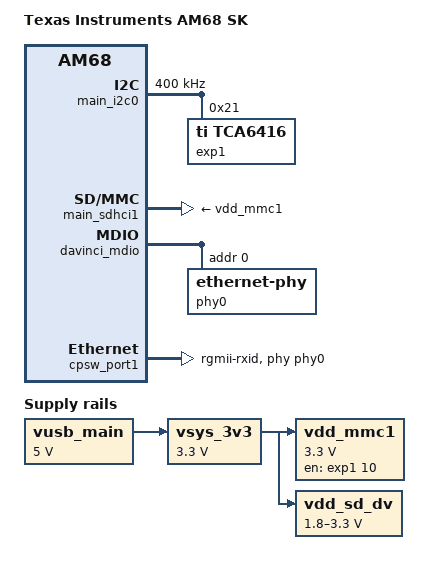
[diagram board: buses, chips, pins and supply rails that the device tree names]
// SPDX-License-Identifier: GPL-2.0
/*
 * Copyright (C) 2022 Texas Instruments Incorporated - https://www.ti.com/
 *
 * Base Board: **Yet to Add**
 */

/dts-v1/;

#include "k3-am68-sk-som.dtsi"
#include <dt-bindings/net/ti-dp83867.h>
#include <dt-bindings/phy/phy-cadence.h>
#include <dt-bindings/phy/phy.h>

/ {
	compatible = "ti,am68-sk", "ti,j721s2";
	model = "Texas Instruments AM68 SK";

	chosen {
		stdout-path = "serial2:115200n8";
		bootargs = "console=ttyS2,115200n8 earlycon=ns16550a,mmio32,0x2880000";
	};

	aliases {
		serial2 = &main_uart8;
		mmc1 = &main_sdhci1;
	};

	vusb_main: fixedregulator-vusb-main5v0 {
		/* USB MAIN INPUT 5V DC */
		compatible = "regulator-fixed";
		regulator-name = "vusb-main5v0";
		regulator-min-microvolt = <5000000>;
		regulator-max-microvolt = <5000000>;
		regulator-always-on;
		regulator-boot-on;
	};

	vsys_3v3: fixedregulator-vsys3v3 {
		/* Output of LM5141 */
		compatible = "regulator-fixed";
		regulator-name = "vsys_3v3";
		regulator-min-microvolt = <3300000>;
		regulator-max-microvolt = <3300000>;
		vin-supply = <&vusb_main>;
		regulator-always-on;
		regulator-boot-on;
	};

	vdd_mmc1: fixedregulator-sd {
		/* Output of TPS22918 */
		compatible = "regulator-fixed";
		regulator-name = "vdd_mmc1";
		regulator-min-microvolt = <3300000>;
		regulator-max-microvolt = <3300000>;
		regulator-boot-on;
		enable-active-high;
		vin-supply = <&vsys_3v3>;
		gpio = <&exp1 10 GPIO_ACTIVE_HIGH>;
	};

	vdd_sd_dv: gpio-regulator-TLV71033 {
		/* Output of TLV71033 */
		compatible = "regulator-gpio";
		regulator-name = "tlv71033";
		pinctrl-names = "default";
		pinctrl-0 = <&vdd_sd_dv_pins_default>;
		regulator-min-microvolt = <1800000>;
		regulator-max-microvolt = <3300000>;
		regulator-boot-on;
		vin-supply = <&vsys_3v3>;
		gpios = <&main_gpio0 49 GPIO_ACTIVE_HIGH>;
		states = <1800000 0x0>,
			 <3300000 0x1>;
	};
};

&main_pmx0 {
	main_uart8_pins_default: main-uart8-pins-default {
		pinctrl-single,pins = <
			J721S2_IOPAD(0x040, PIN_INPUT, 14) /* (AC28) MCASP0_AXR0.UART8_CTSn */
			J721S2_IOPAD(0x044, PIN_OUTPUT, 14) /* (Y26) MCASP0_AXR1.UART8_RTSn */
			J721S2_IOPAD(0x0d0, PIN_INPUT, 11) /* (AF26) SPI0_CS1.UART8_RXD */
			J721S2_IOPAD(0x0d4, PIN_OUTPUT, 11) /* (AH27) SPI0_CLK.UART8_TXD */
		>;
	};

	main_i2c0_pins_default: i2c0-pins-default {
		pinctrl-single,pins = <
			J721S2_IOPAD(0x0e0, PIN_INPUT_PULLUP, 0) /* (AH25) I2C0_SCL */
			J721S2_IOPAD(0x0e4, PIN_INPUT_PULLUP, 0) /* (AE24) I2C0_SDA */
		>;
	};

	main_mmc1_pins_default: main-mmc1-pins-default {
		pinctrl-single,pins = <
			J721S2_IOPAD(0x104, PIN_INPUT, 0) /* (P23) MMC1_CLK */
			J721S2_IOPAD(0x108, PIN_INPUT, 0) /* (N24) MMC1_CMD */
			J721S2_IOPAD(0x100, PIN_INPUT, 0) /* (###) MMC1_CLKLB */
			J721S2_IOPAD(0x0fc, PIN_INPUT, 0) /* (M23) MMC1_DAT0 */
			J721S2_IOPAD(0x0f8, PIN_INPUT, 0) /* (P24) MMC1_DAT1 */
			J721S2_IOPAD(0x0f4, PIN_INPUT, 0) /* (R24) MMC1_DAT2 */
			J721S2_IOPAD(0x0f0, PIN_INPUT, 0) /* (R22) MMC1_DAT3 */
			J721S2_IOPAD(0x0e8, PIN_INPUT, 8) /* (AE25) TIMER_IO0.MMC1_SDCD */
		>;
	};

	vdd_sd_dv_pins_default: vdd-sd-dv-pins-default {
		pinctrl-single,pins = <
			J721S2_IOPAD(0x0c4, PIN_INPUT, 7) /* (AB26) ECAP0_IN_APWM_OUT.GPIO0_49 */
		>;
	};
};

&wkup_pmx0 {
	mcu_cpsw_pins_default: mcu-cpsw-pins-default {
		pinctrl-single,pins = <
			J721S2_WKUP_IOPAD(0x094, PIN_INPUT, 0) /* (B22) MCU_RGMII1_RD0 */
			J721S2_WKUP_IOPAD(0x090, PIN_INPUT, 0) /* (B21) MCU_RGMII1_RD1 */
			J721S2_WKUP_IOPAD(0x08c, PIN_INPUT, 0) /* (C22) MCU_RGMII1_RD2 */
			J721S2_WKUP_IOPAD(0x088, PIN_INPUT, 0) /* (D23) MCU_RGMII1_RD3 */
			J721S2_WKUP_IOPAD(0x084, PIN_INPUT, 0) /* (D22) MCU_RGMII1_RXC */
			J721S2_WKUP_IOPAD(0x06c, PIN_INPUT, 0) /* (E23) MCU_RGMII1_RX_CTL */
			J721S2_WKUP_IOPAD(0x07c, PIN_OUTPUT, 0) /* (F23) MCU_RGMII1_TD0 */
			J721S2_WKUP_IOPAD(0x078, PIN_OUTPUT, 0) /* (G22) MCU_RGMII1_TD1 */
			J721S2_WKUP_IOPAD(0x074, PIN_OUTPUT, 0) /* (E21) MCU_RGMII1_TD2 */
			J721S2_WKUP_IOPAD(0x070, PIN_OUTPUT, 0) /* (E22) MCU_RGMII1_TD3 */
			J721S2_WKUP_IOPAD(0x080, PIN_OUTPUT, 0) /* (F21) MCU_RGMII1_TXC */
			J721S2_WKUP_IOPAD(0x068, PIN_OUTPUT, 0) /* (F22) MCU_RGMII1_TX_CTL */
		>;
	};

	mcu_mdio_pins_default: mcu-mdio-pins-default {
		pinctrl-single,pins = <
			J721S2_WKUP_IOPAD(0x09c, PIN_OUTPUT, 0) /* (A21) MCU_MDIO0_MDC */
			J721S2_WKUP_IOPAD(0x098, PIN_INPUT, 0) /* (A22) MCU_MDIO0_MDIO */
		>;
	};
};

&main_gpio2 {
	status = "disabled";
};

&main_gpio4 {
	status = "disabled";
};

&main_gpio6 {
	status = "disabled";
};

&wkup_gpio1 {
	status = "disabled";
};

&wkup_uart0 {
	status = "reserved";
};

&main_uart0 {
	status = "disabled";
};

&main_uart1 {
	status = "disabled";
};

&main_uart2 {
	status = "disabled";
};

&main_uart3 {
	status = "disabled";
};

&main_uart4 {
	status = "disabled";
};

&main_uart5 {
	status = "disabled";
};

&main_uart6 {
	status = "disabled";
};

&main_uart7 {
	status = "disabled";
};

&main_uart8 {
	pinctrl-names = "default";
	pinctrl-0 = <&main_uart8_pins_default>;
	/* Shared with TFA on this platform */
	power-domains = <&k3_pds 357 TI_SCI_PD_SHARED>;
};

&main_uart9 {
	status = "disabled";
};

&main_i2c0 {
	pinctrl-names = "default";
	pinctrl-0 = <&main_i2c0_pins_default>;
	clock-frequency = <400000>;

	exp1: gpio@21 {
		compatible = "ti,tca6416";
		reg = <0x21>;
		gpio-controller;
		#gpio-cells = <2>;
		gpio-line-names = "CSI_VIO_SEL", "CSI_SEL_FPC_EXPN", "HDMI_PDN",
				  "HDMI_LS_OE", "DP0_3V3_EN", "BOARDID_EEPROM_WP",
				  "CAN_STB", "","GPIO_uSD_PWR_EN", "EDP_ENABLE",
				  "IO_EXP_PCIE1_M2_RSTZ", "IO_EXP_MCU_RGMII_RSTZ",
				  "IO_EXP_CSI1_EXP_RSTZ", "","CSI0_B_GPIO1",
				  "CSI1_B_GPIO1";
	};
};

&main_i2c1 {
	status = "disabled";
};

&main_i2c2 {
	status = "disabled";
};

&main_i2c3 {
	status = "disabled";
};

&main_i2c4 {
	status = "disabled";
};

&main_i2c5 {
	status = "disabled";
};

&main_i2c6 {
	status = "disabled";
};

&main_sdhci0 {
	status = "disabled";
};

&main_sdhci1 {
	/* SD card */
	pinctrl-0 = <&main_mmc1_pins_default>;
	pinctrl-names = "default";
	disable-wp;
	vmmc-supply = <&vdd_mmc1>;
	vqmmc-supply = <&vdd_sd_dv>;
};

&mcu_cpsw {
	pinctrl-names = "default";
	pinctrl-0 = <&mcu_cpsw_pins_default &mcu_mdio_pins_default>;
};

&davinci_mdio {
	phy0: ethernet-phy@0 {
		reg = <0>;
		ti,rx-internal-delay = <DP83867_RGMIIDCTL_2_00_NS>;
		ti,fifo-depth = <DP83867_PHYCR_FIFO_DEPTH_4_B_NIB>;
		ti,min-output-impedance;
	};
};

&cpsw_port1 {
	phy-mode = "rgmii-rxid";
	phy-handle = <&phy0>;
};

&mcu_mcan0 {
	status = "disabled";
};

&mcu_mcan1 {
	status = "disabled";
};

&main_mcan0 {
	status = "disabled";
};

&main_mcan1 {
	status = "disabled";
};

&main_mcan2 {
	status = "disabled";
};

&main_mcan3 {
	status = "disabled";
};

&main_mcan4 {
	status = "disabled";
};

&main_mcan5 {
	status = "disabled";
};

&main_mcan6 {
	status = "disabled";
};

&main_mcan7 {
	status = "disabled";
};

&main_mcan8 {
	status = "disabled";
};

&main_mcan9 {
	status = "disabled";
};

&main_mcan10 {
	status = "disabled";
};

&main_mcan11 {
	status = "disabled";
};

&main_mcan12 {
	status = "disabled";
};

&main_mcan13 {
	status = "disabled";
};

&main_mcan14 {
	status = "disabled";
};

&main_mcan15 {
	status = "disabled";
};

&main_mcan17 {
	status = "disabled";
};
